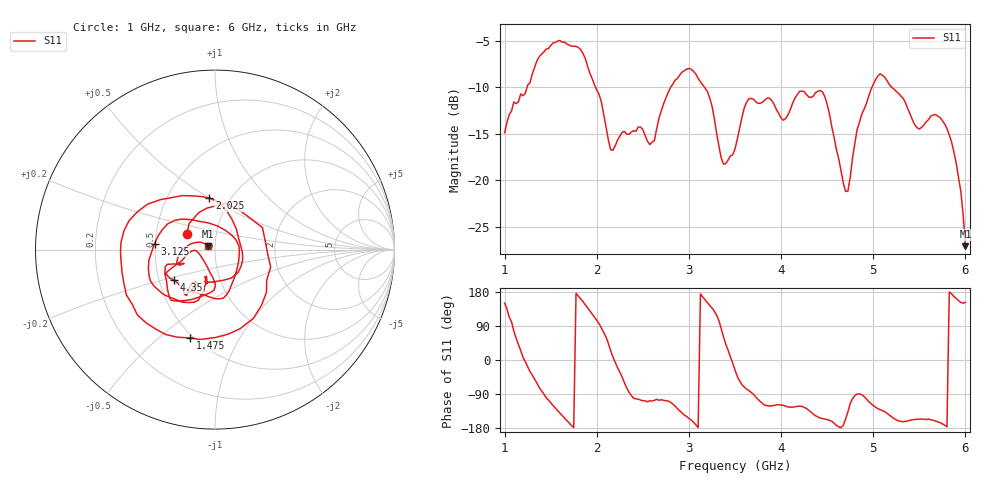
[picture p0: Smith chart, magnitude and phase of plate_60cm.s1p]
! SOL-corrected complex mean; no background subtraction; no window
# Hz S RI R 50
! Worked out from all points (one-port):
!   201 points, 1 GHz to 6 GHz, reference 50 ohm
!   lowest |S11| = -27.1 dB at 6 GHz (marker M1), VSWR 1.09, Z = 46.2 + j1.91 ohm
!   |S11| at or under -10 dB: 1.987 GHz to 2.802 GHz (814.6 MHz wide, 34 % of centre); 3.169 GHz to 4.986 GHz (1.816 GHz wide, 44.5 % of centre); 5.201 GHz to end of sweep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
!   S11 on the Smith chart (normalised r, x): 1 GHz: 0.72, +0.13; 1.475 GHz: 0.48, -0.64; 2.025 GHz: 0.80, +0.50; 3.125 GHz: 0.49, +0.04; 4.35 GHz: 0.60, -0.22; 6 GHz: 0.92, +0.04
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1e9  -0.1563 0.0896
1.1e9  0.0596 0.2569
1.25e9  0.3102 -0.0971
1.375e9  0.1412 -0.4397
1.475e9  -0.1375 -0.492
1.625e9  -0.4604 -0.3062
1.8e9  -0.5074 0.1041
2.025e9  -0.0311 0.2878
2.15e9  0.1316 0.063
2.25e9  0.1456 -0.0919
2.625e9  -0.0465 -0.1566
2.875e9  -0.2181 -0.2777
3.125e9  -0.337 0.0336
3.375e9  0.0587 0.1072
3.5e9  0.1318 -0.0653
3.65e9  0.0465 -0.2706
3.825e9  -0.1325 -0.2358
4.125e9  -0.1461 -0.2145
4.35e9  -0.2267 -0.1697
4.475e9  -0.2566 -0.1153
4.7e9  -0.0794 -0.0354
4.75e9  -0.0442 -0.0938
4.825e9  0.000455 -0.1873
5.05e9  -0.2256 -0.2855
5.375e9  -0.2291 -0.0794
5.8e9  -0.1894 -0.0117
5.95e9  -0.0773 0.0409
6e9  -0.039 0.0206
